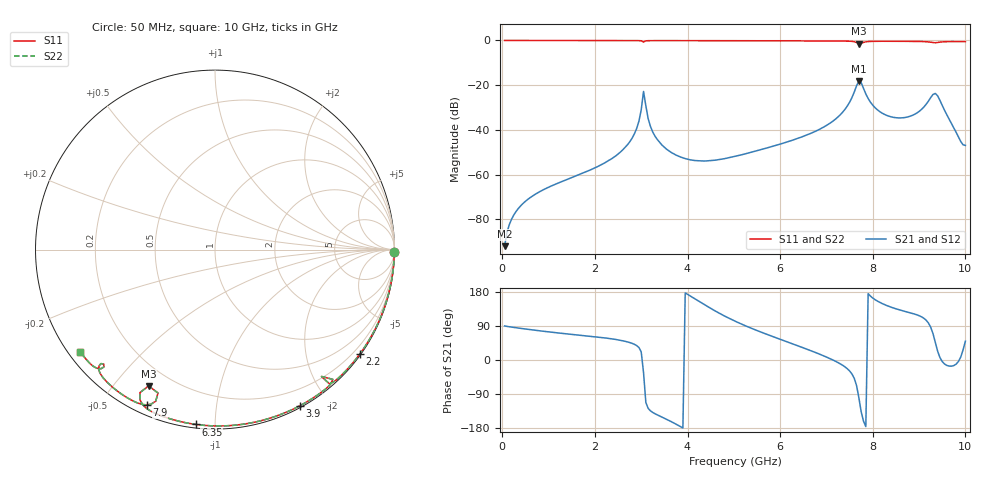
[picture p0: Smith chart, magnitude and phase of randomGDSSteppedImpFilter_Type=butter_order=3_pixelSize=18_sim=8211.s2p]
! freq	dB(S11)	phase(S11)	dB(S12)	phase(S12)
!  dB(S21)	phase(S21)	dB(S22)	phase(S22)
!S-par simulation data
#  GHz  S  DB  R 50
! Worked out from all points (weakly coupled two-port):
!   200 points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, 50 MHz to 10 GHz, reference 50 ohm
!   highest |S21| = -18.14 dB at 7.7 GHz (marker M1); lowest = -92.0 dB at 50 MHz (marker M2)
!   lowest |S11| = -1.5 dB at 7.7 GHz (marker M3), VSWR 11.86, Z = 5.85 - j31 ohm
!   |S11| at or under -10 dB: nowhere
!   |S22| runs from -1.5 to 0.0 dB; largest |S21 - S12| = 0
!   S11 on the Smith chart (normalised r, x): 50 MHz: open; 2.2 GHz: 0.03, -3.11; 3.9 GHz: 0.02, -1.68; 6.35 GHz: 0.02, -0.90; 7.9 GHz: 0.04, -0.65; 10 GHz: 0.03, -0.34
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0.05  -0.00 -0.8  -91.98 89.8  -91.98 89.8  -0.00 -0.8
0.2  -0.01 -3.3  -79.92 86.8  -79.92 86.8  -0.01 -3.3
0.75  -0.01 -12.3  -68.29 77.9  -68.29 77.9  -0.01 -12.3
1.75  -0.04 -28.5  -59.23 64.6  -59.23 64.6  -0.04 -28.5
2.2  -0.05 -35.7  -54.89 58.6  -54.89 58.6  -0.05 -35.7
2.8  -0.06 -45.3  -43.79 44.1  -43.79 44.1  -0.06 -45.3
2.95  -0.09 -48.1  -36.14 33.0  -36.14 33.0  -0.09 -48.2
3.05  -0.70 -50.0  -22.81 -33.4  -22.81 -33.4  -0.70 -50.0
3.2  -0.08 -50.4  -38.49 -134.2  -38.49 -134.2  -0.08 -50.4
3.4  -0.08 -53.8  -45.56 -147.9  -45.56 -147.9  -0.08 -53.8
3.9  -0.08 -61.5  -52.48 -179.4  -52.48 -179.4  -0.08 -61.5
5.05  -0.12 -78.2  -51.71 101.1  -51.71 101.1  -0.12 -78.2
6.35  -0.18 -96.3  -43.97 38.9  -43.97 38.9  -0.18 -96.3
6.7  -0.20 -101.2  -41.20 22.8  -41.20 22.8  -0.20 -101.2
7.35  -0.26 -110.8  -32.06 -14.0  -32.06 -14.0  -0.26 -110.8
7.7  -1.47 -116.0  -18.14 -99.7  -18.14 -99.7  -1.46 -116.0
7.9  -0.49 -113.7  -25.96 175.2  -25.96 175.2  -0.49 -113.7
8.35  -0.36 -121.4  -33.87 141.4  -33.87 141.4  -0.36 -121.4
8.9  -0.43 -129.3  -33.06 121.3  -33.06 121.3  -0.43 -129.3
9.35  -1.02 -134.2  -23.68 46.6  -23.68 46.6  -1.02 -134.2
9.9  -0.52 -141.3  -45.19 8.0  -45.19 8.0  -0.52 -141.3
10  -0.53 -142.8  -46.93 49.6  -46.93 49.6  -0.53 -142.8
